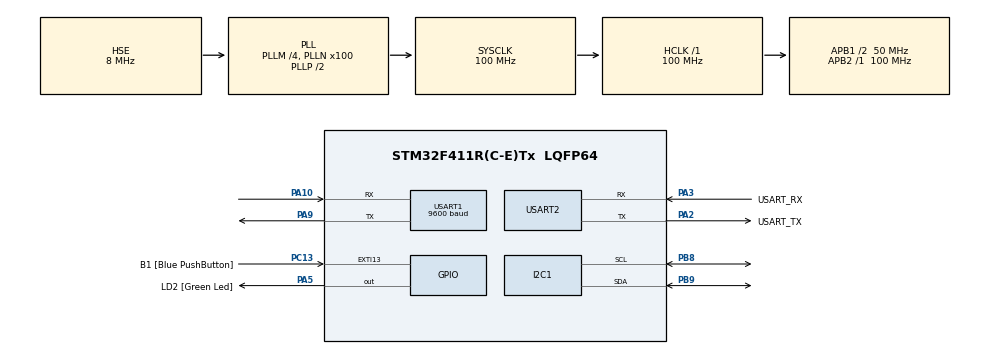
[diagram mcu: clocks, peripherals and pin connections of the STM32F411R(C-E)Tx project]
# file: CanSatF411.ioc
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FREERTOS.Tasks01=AcquisitionTask,40,512,StartAcquisitionTask,Default,NULL,Dynamic,NULL,NULL;MissionTask,32,612,StartMissionTask,Default,NULL,Dynamic,NULL,NULL;ControlTask,24,256,StartControlTask,Default,NULL,Dynamic,NULL,NULL;BridgeTask,16,512,StartBridgeTask,Default,NULL,Dynamic,NULL,NULL
FREERTOS.configCHECK_FOR_STACK_OVERFLOW=2
FREERTOS.configTOTAL_HEAP_SIZE=8192
FREERTOS.configUSE_NEWLIB_REENTRANT=1
Mcu.Family=STM32F4
Mcu.Name=STM32F411R(C-E)Tx
Mcu.Package=LQFP64
NVIC.PriorityGroup=NVIC_PRIORITYGROUP_4
NVIC.TIM5_IRQn=true\:15\:0\:false\:false\:true\:false\:false\:true\:true
NVIC.TimeBase=TIM5_IRQn
NVIC.TimeBaseIP=TIM5
NVIC.USART1_IRQn=true\:5\:0\:false\:false\:true\:true\:true\:true\:true
PA10.Mode=Asynchronous
PA10.Signal=USART1_RX
PA13.GPIO_Label=TMS
PA13.Mode=Serial_Wire
PA13.Signal=SYS_JTMS-SWDIO
PA14.GPIO_Label=TCK
PA14.Mode=Serial_Wire
PA14.Signal=SYS_JTCK-SWCLK
PA2.GPIO_Label=USART_TX
PA2.Mode=Asynchronous
PA2.Signal=USART2_TX
PA3.GPIO_Label=USART_RX
PA3.Mode=Asynchronous
PA3.Signal=USART2_RX
PA5.GPIO_Label=LD2 [Green Led]
PA5.Signal=GPIO_Output
PA9.Mode=Asynchronous
PA9.Signal=USART1_TX
PB3.GPIO_Label=SWO
PB3.Signal=SYS_JTDO-SWO
PB8.Mode=I2C
PB8.Signal=I2C1_SCL
PB9.Mode=I2C
PB9.Signal=I2C1_SDA
PC13-ANTI_TAMP.GPIO_Label=B1 [Blue PushButton]
PC13-ANTI_TAMP.GPIO_ModeDefaultEXTI=GPIO_MODE_IT_FALLING
PC13-ANTI_TAMP.Signal=GPXTI13
PC14-OSC32_IN.Mode=LSE-External-Oscillator
PC14-OSC32_IN.Signal=RCC_OSC32_IN
PC15-OSC32_OUT.Mode=LSE-External-Oscillator
PC15-OSC32_OUT.Signal=RCC_OSC32_OUT
PH0\ -\ OSC_IN.Mode=HSE-External-Clock-Source
PH0\ -\ OSC_IN.Signal=RCC_OSC_IN
PH1\ -\ OSC_OUT.Mode=HSE-External-Clock-Source
PH1\ -\ OSC_OUT.Signal=RCC_OSC_OUT
ProjectManager.HeapSize=0x200
ProjectManager.StackSize=0x400
ProjectManager.TargetToolchain=STM32CubeIDE
RCC.48MHZClocksFreq_Value=50000000
RCC.AHBFreq_Value=100000000
RCC.APB1CLKDivider=RCC_HCLK_DIV2
RCC.APB1Freq_Value=50000000
RCC.APB1TimFreq_Value=100000000
RCC.APB2Freq_Value=100000000
RCC.APB2TimFreq_Value=100000000
RCC.CortexFreq_Value=100000000
RCC.FLatency-AdvancedSettings=FLASH_LATENCY_3
RCC.HCLKFreq_Value=100000000
RCC.HSE_VALUE=8000000
RCC.HSI_VALUE=16000000
RCC.PLLM=4
RCC.PLLN=100
RCC.PLLSourceVirtual=RCC_PLLSOURCE_HSE
RCC.SYSCLKFreq_VALUE=100000000
RCC.SYSCLKSource=RCC_SYSCLKSOURCE_PLLCLK
RCC.VCOOutputFreq_Value=200000000
USART1.BaudRate=9600
USART1.VirtualMode=VM_ASYNC
USART2.VirtualMode=VM_ASYNC
VP_FREERTOS_VS_CMSIS_V2.Mode=CMSIS_V2
VP_SYS_VS_tim5.Mode=TIM5
board=NUCLEO-F411RE

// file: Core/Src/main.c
/* USER CODE BEGIN Header */
/**
  ******************************************************************************
  * @file           : main.c
  * @brief          : Main program body
  ******************************************************************************
  * @attention
  *
  * Copyright (c) 2026 STMicroelectronics.
  * All rights reserved.
  *
  * This software is licensed under terms that can be found in the LICENSE file
  * in the root directory of this software component.
  * If no LICENSE file comes with this software, it is provided AS-IS.
  *
  ******************************************************************************
  */
/* USER CODE END Header */
#include "main.h"
#include "cmsis_os.h"
#include "i2c.h"
#include "usart.h"
#include "gpio.h"

/* USER CODE BEGIN Includes */
#include "mission_manager.h"
#include "mission_data.h"
#include "sensors_manager.h"
#include "bridge_manager.h"
/* USER CODE END Includes */

/* USER CODE BEGIN PV */
MissionData_t local_data; // Ahora el debugger la verá desde cualquier tarea
uint8_t gps_byte; // El byte que llega uno a uno
char temp_gps_buffer[80]; // Buffer temporal
uint8_t gps_idx = 0;

/* USER CODE END PV */

void SystemClock_Config(void);
void MX_FREERTOS_Init(void);

int main(void)
{

  /* MCU Configuration--------------------------------------------------------*/

  /* Reset of all peripherals, Initializes the Flash interface and the Systick. */
  HAL_Init();

  /* Configure the system clock */
  SystemClock_Config();

  /* Initialize all configured peripherals */
  MX_GPIO_Init();
  MX_I2C1_Init();
  MX_USART1_UART_Init();
  MX_USART2_UART_Init();
  /* USER CODE BEGIN 2 */
  Bridge_Init(&huart2); // <--- VITAL: Conecta el Manager con la UART de la PC (USART2)
  // Arrancamos la recepción por interrupción de 1 byte
  HAL_UART_Receive_IT(&huart1, &gps_byte, 1);
  /* USER CODE END 2 */

  /* Init scheduler */
  osKernelInitialize();  /* Call init function for freertos objects (in cmsis_os2.c) */
  MX_FREERTOS_Init();

  /* Start scheduler */
  osKernelStart();

  /* We should never get here as control is now taken by the scheduler */

  /* Infinite loop */
  while (1)
  {

  }
}

void SystemClock_Config(void)
{
  RCC_OscInitTypeDef RCC_OscInitStruct = {0};
  RCC_ClkInitTypeDef RCC_ClkInitStruct = {0};

  /** Configure the main internal regulator output voltage
  */
  __HAL_RCC_PWR_CLK_ENABLE();
  __HAL_PWR_VOLTAGESCALING_CONFIG(PWR_REGULATOR_VOLTAGE_SCALE1);

  /** Initializes the RCC Oscillators according to the specified parameters
  * in the RCC_OscInitTypeDef structure.
  */
  RCC_OscInitStruct.OscillatorType = RCC_OSCILLATORTYPE_HSE;
  RCC_OscInitStruct.HSEState = RCC_HSE_BYPASS;
  RCC_OscInitStruct.PLL.PLLState = RCC_PLL_ON;
  RCC_OscInitStruct.PLL.PLLSource = RCC_PLLSOURCE_HSE;
  RCC_OscInitStruct.PLL.PLLM = 4;
  RCC_OscInitStruct.PLL.PLLN = 100;
  RCC_OscInitStruct.PLL.PLLP = RCC_PLLP_DIV2;
  RCC_OscInitStruct.PLL.PLLQ = 4;
  if (HAL_RCC_OscConfig(&RCC_OscInitStruct) != HAL_OK)
  {
    Error_Handler();
  }

  /** Initializes the CPU, AHB and APB buses clocks
  */
  RCC_ClkInitStruct.ClockType = RCC_CLOCKTYPE_HCLK|RCC_CLOCKTYPE_SYSCLK
                              |RCC_CLOCKTYPE_PCLK1|RCC_CLOCKTYPE_PCLK2;
  RCC_ClkInitStruct.SYSCLKSource = RCC_SYSCLKSOURCE_PLLCLK;
  RCC_ClkInitStruct.AHBCLKDivider = RCC_SYSCLK_DIV1;
  RCC_ClkInitStruct.APB1CLKDivider = RCC_HCLK_DIV2;
  RCC_ClkInitStruct.APB2CLKDivider = RCC_HCLK_DIV1;

  if (HAL_RCC_ClockConfig(&RCC_ClkInitStruct, FLASH_LATENCY_3) != HAL_OK)
  {
    Error_Handler();
  }
}

/* USER CODE BEGIN 4 */
void HAL_UART_RxCpltCallback(UART_HandleTypeDef *huart) {
    if (huart->Instance == USART1) {
        if (gps_byte == '$') gps_idx = 0;

        if (gps_idx < 79) {
            temp_gps_buffer[gps_idx++] = gps_byte;
        }

        if (gps_byte == '\n' || gps_idx >= 75) {
            temp_gps_buffer[gps_idx] = '\0';

            // ACCESO DIRECTO A LA DATA GLOBAL
            MissionData_t *ptr = MissionData_GetPointer();
            strncpy(ptr->gps_sentence, temp_gps_buffer, 79);

            gps_idx = 0;
        }
        HAL_UART_Receive_IT(&huart1, &gps_byte, 1);
    }
}

void HAL_UART_ErrorCallback(UART_HandleTypeDef *huart) {
    if (huart->Instance == USART1) {
        // 1. Detectamos qué error hubo (probablemente Overrun: 0x08)
        uint32_t err = HAL_UART_GetError(huart);

        // 2. Limpiamos las banderas de error para que el hardware vuelva a escuchar
        // El simple hecho de llamar a Receive_IT de nuevo suele limpiar el estado en el HAL
        HAL_UART_Receive_IT(huart, &gps_byte, 1);
    }
}
/* USER CODE END 4 */

void HAL_TIM_PeriodElapsedCallback(TIM_HandleTypeDef *htim)
{
  if (htim->Instance == TIM5)
  {
    HAL_IncTick();
  }
}

void Error_Handler(void)
{
  __disable_irq();
  while (1)
  {
  }
}

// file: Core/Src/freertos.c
/* USER CODE BEGIN Header */
/**
  ******************************************************************************
  * File Name          : freertos.c
  * Description        : Code for freertos applications
  ******************************************************************************
  * @attention
  *
  * Copyright (c) 2026 STMicroelectronics.
  * All rights reserved.
  *
  * This software is licensed under terms that can be found in the LICENSE file
  * in the root directory of this software component.
  * If no LICENSE file comes with this software, it is provided AS-IS.
  *
  ******************************************************************************
  */
/* USER CODE END Header */

#include "FreeRTOS.h"
#include "task.h"
#include "main.h"
#include "cmsis_os.h"

/* USER CODE BEGIN Includes */
#include "mission_data.h"
#include "bridge_manager.h" // Lo usaremos ahora
#include "sensors_manager.h" // <--- VERIFICÁ ESTA LÍNEA
#include "mission_manager.h"
#include "mission_data.h"
#include <stdio.h>          // Para el sprintf de debug
/* USER CODE END Includes */

/* Definitions for AcquisitionTask */
osThreadId_t AcquisitionTaskHandle;
const osThreadAttr_t AcquisitionTask_attributes = {
  .name = "AcquisitionTask",
  .stack_size = 512 * 4,
  .priority = (osPriority_t) osPriorityHigh,
};
/* Definitions for MissionTask */
osThreadId_t MissionTaskHandle;
const osThreadAttr_t MissionTask_attributes = {
  .name = "MissionTask",
  .stack_size = 612 * 4,
  .priority = (osPriority_t) osPriorityAboveNormal,
};
/* Definitions for ControlTask */
osThreadId_t ControlTaskHandle;
const osThreadAttr_t ControlTask_attributes = {
  .name = "ControlTask",
  .stack_size = 256 * 4,
  .priority = (osPriority_t) osPriorityNormal,
};
/* Definitions for BridgeTask */
osThreadId_t BridgeTaskHandle;
const osThreadAttr_t BridgeTask_attributes = {
  .name = "BridgeTask",
  .stack_size = 512 * 4,
  .priority = (osPriority_t) osPriorityBelowNormal,
};

void StartAcquisitionTask(void *argument);
void StartMissionTask(void *argument);
void StartControlTask(void *argument);
void StartBridgeTask(void *argument);

void MX_FREERTOS_Init(void); /* (MISRA C 2004 rule 8.1) */

/* Hook prototypes */
void vApplicationStackOverflowHook(xTaskHandle xTask, signed char *pcTaskName);

/* USER CODE BEGIN 4 */
void vApplicationStackOverflowHook(xTaskHandle xTask, signed char *pcTaskName)
{
   /* Run time stack overflow checking is performed if
   configCHECK_FOR_STACK_OVERFLOW is defined to 1 or 2. This hook function is
   called if a stack overflow is detected. */
}
/* USER CODE END 4 */

void MX_FREERTOS_Init(void) {

  /* USER CODE BEGIN RTOS_MUTEX */

	MissionData_Init();
  /* add mutexes, ... */
  /* USER CODE END RTOS_MUTEX */

  /* Create the thread(s) */
  /* creation of AcquisitionTask */
  AcquisitionTaskHandle = osThreadNew(StartAcquisitionTask, NULL, &AcquisitionTask_attributes);

  /* creation of MissionTask */
  MissionTaskHandle = osThreadNew(StartMissionTask, NULL, &MissionTask_attributes);

  /* creation of ControlTask */
  ControlTaskHandle = osThreadNew(StartControlTask, NULL, &ControlTask_attributes);

  /* creation of BridgeTask */
  BridgeTaskHandle = osThreadNew(StartBridgeTask, NULL, &BridgeTask_attributes);

}

void StartAcquisitionTask(void *argument)
{
  /* USER CODE BEGIN StartAcquisitionTask */
  MissionData_t local_data = {0};

  // Inicializamos sensores AQUÍ. Si falla, el TICK ya está corriendo y no se cuelga.
  Sensors_Init();
  Mission_Init(); // Inicializamos una vez
  for(;;)
  {

    local_data.timestamp = osKernelGetTickCount();
    MissionData_Update(&local_data);
    Mission_RunIteration();
    osDelay(200);
  }
  /* USER CODE END StartAcquisitionTask */
}

void StartMissionTask(void *argument)
{
  for(;;)
  {
    osDelay(1);
  }
}

void StartControlTask(void *argument)
{
  for(;;)
  {
    osDelay(1);
  }
}

void StartBridgeTask(void *argument)
{
  /* USER CODE BEGIN StartBridgeTask */
  extern UART_HandleTypeDef huart2; // La del USB/PC
  Bridge_Init(&huart2);
  MissionData_t data_to_send;
  for(;;) {
    MissionData_Read(&data_to_send);
    Bridge_SendTelemetry(&data_to_send);
    osDelay(500); // Enviamos cada 500ms
  }
  /* USER CODE END StartBridgeTask */
}
